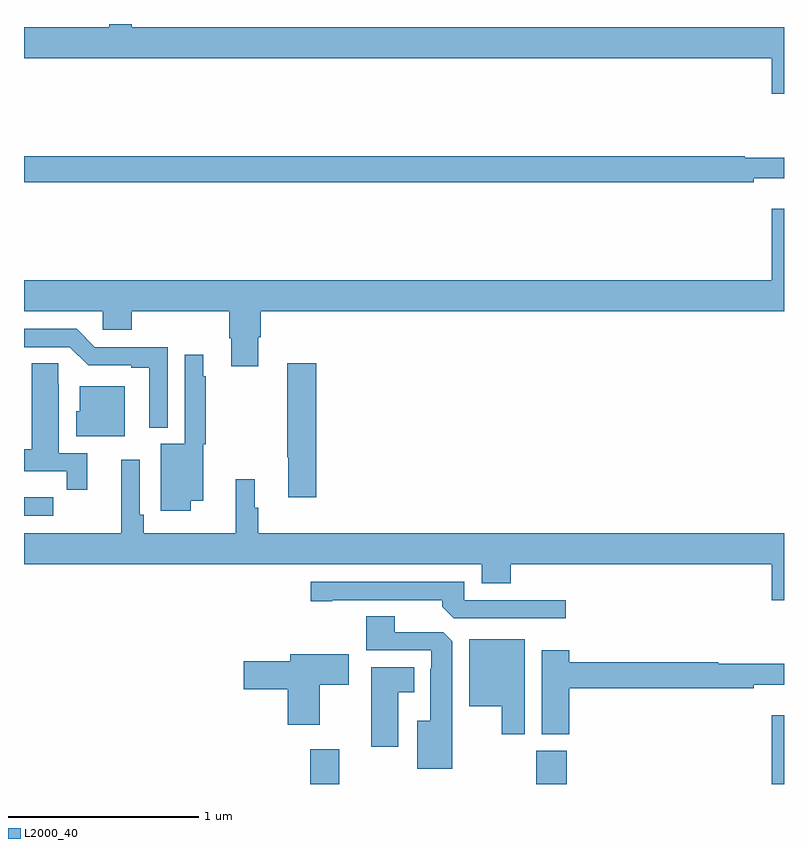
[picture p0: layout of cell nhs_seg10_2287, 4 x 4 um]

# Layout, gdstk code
import gdstk
lib = gdstk.Library(unit=1e-6, precision=1e-09)
def R(c, l, rs):  # rectangles x0, y0, x1, y1
    for r in rs: c.add(gdstk.rectangle(r[:2], r[2:], *l))
def P(c, l, *ps):  # polygons
    for p in ps: c.add(gdstk.Polygon(p, *l))
L2000_40 = (2000, 40)

nhs_seg10_2287 = lib.new_cell('nhs_seg10_2287')
R(nhs_seg10_2287, L2000_40, [(234.506,1292.5,234.658,1292.683), (235.696,1292.5,235.856,1292.676), (236.936,1292.5,237,1292.863)])
P(nhs_seg10_2287, L2000_40, [(237,1296.484),(233.567,1296.484),(233.567,1296.5),(233.449,1296.5),(233.449,1296.484),(233,1296.484),(233,1296.32),(236.936,1296.32),(236.936,1296.132),(237,1296.132)],
  [(236.84,1295.687),(237,1295.687),(237,1295.797),(236.794,1295.797),(236.794,1295.804),(233,1295.804),(233,1295.668),(236.84,1295.668)],
  [(234.232,1294.851),(234.245,1294.851),(234.245,1294.988),(237,1294.988),(237,1295.527),(236.936,1295.527),(236.936,1295.152),(233,1295.152),(233,1294.988),(233.415,1294.988),(233.415,1294.89),(233.567,1294.89),(233.567,1294.988),(234.08,1294.988),(234.08,1294.846),(234.092,1294.846),(234.092,1294.698),(234.232,1294.698)],
  [(233.757,1294.8),(233.373,1294.8),(233.277,1294.896),(233,1294.896),(233,1294.8),(233.241,1294.8),(233.337,1294.704),(233.564,1294.704),(233.564,1294.692),(233.66,1294.692),(233.66,1294.376),(233.757,1294.376)],
  [(233.878,1293.992),(233.944,1293.992),(233.944,1294.287),(233.956,1294.287),(233.956,1294.646),(233.944,1294.646),(233.944,1294.759),(233.847,1294.759),(233.847,1294.291),(233.72,1294.291),(233.72,1293.939),(233.878,1293.939)],
  [(233.333,1294.242),(233.182,1294.242),(233.182,1294.604),(233.181,1294.604),(233.181,1294.715),(233.042,1294.715),(233.042,1294.263),(233,1294.263),(233,1294.146),(233.224,1294.146),(233.224,1294.05),(233.333,1294.05)],
  [(234.539,1294.714),(234.385,1294.714),(234.385,1294.22),(234.392,1294.22),(234.392,1294.008),(234.539,1294.008)],
  [(233.53,1294.594),(233.294,1294.594),(233.294,1294.461),(233.276,1294.461),(233.276,1294.331),(233.53,1294.331)],
  [(237,1293.82),(234.233,1293.82),(234.233,1293.954),(234.214,1293.954),(234.214,1294.105),(234.115,1294.105),(234.115,1293.82),(233.63,1293.82),(233.63,1293.916),(233.61,1293.916),(233.61,1294.207),(233.513,1294.207),(233.513,1293.82),(233,1293.82),(233,1293.656),(235.409,1293.656),(235.409,1293.557),(235.562,1293.557),(235.562,1293.656),(236.936,1293.656),(236.936,1293.468),(237,1293.468)],
  [(233.155,1294.008),(233.042,1294.008),(233.042,1294.009),(233,1294.009),(233,1293.912),(233.155,1293.912)],
  [(235.852,1293.468),(235.317,1293.468),(235.317,1293.564),(234.51,1293.564),(234.51,1293.463),(234.622,1293.463),(234.622,1293.468),(235.202,1293.468),(235.202,1293.434),(235.263,1293.372),(235.852,1293.372)],
  [(235.255,1293.251),(235.206,1293.3),(234.952,1293.3),(234.952,1293.383),(234.8,1293.383),(234.8,1293.204),(235.143,1293.204),(235.143,1293.107),(235.139,1293.107),(235.139,1292.833),(235.07,1292.833),(235.07,1292.579),(235.255,1292.579)],
  [(235.636,1293.262),(235.343,1293.262),(235.343,1292.909),(235.514,1292.909),(235.514,1292.763),(235.636,1292.763)],
  [(235.871,1293.004),(236.84,1293.004),(236.84,1293.023),(237,1293.023),(237,1293.133),(236.654,1293.133),(236.654,1293.14),(235.871,1293.14),(235.871,1293.205),(235.724,1293.205),(235.724,1292.761),(235.871,1292.761)],
  [(234.556,1293.022),(234.709,1293.022),(234.709,1293.184),(234.401,1293.184),(234.401,1293.146),(234.156,1293.146),(234.156,1292.999),(234.389,1292.999),(234.389,1292.811),(234.556,1292.811)],
  [(234.97,1292.984),(235.054,1292.984),(235.054,1293.115),(234.827,1293.115),(234.827,1292.697),(234.97,1292.697)])

lib.write_gds('nhs_seg10_2287.gds')
